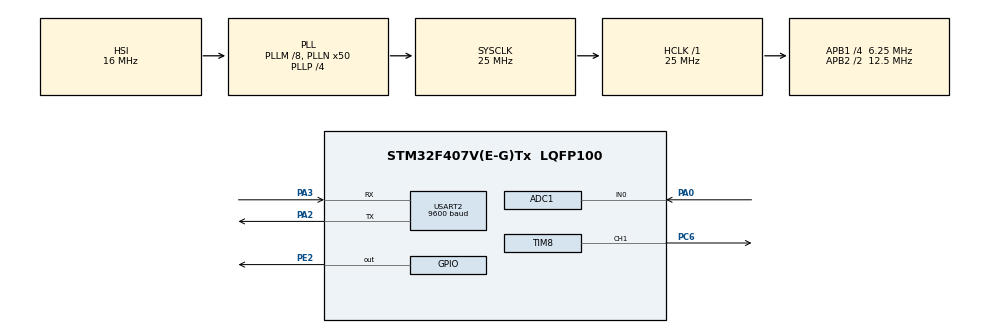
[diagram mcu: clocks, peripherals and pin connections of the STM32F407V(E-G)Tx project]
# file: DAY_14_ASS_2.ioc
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ADC1.Channel-0\#ChannelRegularConversion=ADC_CHANNEL_0
ADC1.ClockPrescaler=ADC_CLOCK_SYNC_PCLK_DIV6
ADC1.NbrOfConversionFlag=1
ADC1.Rank-0\#ChannelRegularConversion=1
ADC1.SamplingTime-0\#ChannelRegularConversion=ADC_SAMPLETIME_3CYCLES
ADC1.master=1
Mcu.Family=STM32F4
Mcu.Name=STM32F407V(E-G)Tx
Mcu.Package=LQFP100
NVIC.PriorityGroup=NVIC_PRIORITYGROUP_0
PA0-WKUP.Signal=ADCx_IN0
PA2.Mode=Asynchronous
PA2.Signal=USART2_TX
PA3.Mode=Asynchronous
PA3.Signal=USART2_RX
PC6.Signal=S_TIM8_CH1
PE2.Signal=GPIO_Output
ProjectManager.HeapSize=0x200
ProjectManager.StackSize=0x400
ProjectManager.TargetToolchain=STM32CubeIDE
RCC.48MHZClocksFreq_Value=14285714.285714285
RCC.AHBFreq_Value=25000000
RCC.APB1CLKDivider=RCC_HCLK_DIV4
RCC.APB1Freq_Value=6250000
RCC.APB1TimFreq_Value=12500000
RCC.APB2CLKDivider=RCC_HCLK_DIV2
RCC.APB2Freq_Value=12500000
RCC.APB2TimFreq_Value=25000000
RCC.CortexFreq_Value=25000000
RCC.HCLKFreq_Value=25000000
RCC.HSE_VALUE=8000000
RCC.HSI_VALUE=16000000
RCC.LSE_VALUE=32768
RCC.PLLM=8
RCC.PLLN=50
RCC.PLLP=RCC_PLLP_DIV4
RCC.PLLQ=7
RCC.SYSCLKFreq_VALUE=25000000
RCC.SYSCLKSource=RCC_SYSCLKSOURCE_PLLCLK
RCC.VCOOutputFreq_Value=100000000
SH.ADCx_IN0.0=ADC1_IN0,IN0
SH.S_TIM8_CH1.0=TIM8_CH1,PWM Generation1 CH1
TIM8.Channel-PWM\ Generation1\ CH1=TIM_CHANNEL_1
TIM8.Period=99
TIM8.Prescaler=24
USART2.BaudRate=9600
USART2.VirtualMode=VM_ASYNC
VP_TIM8_VS_ClockSourceINT.Mode=Internal
board=STM32F407G-DISC1

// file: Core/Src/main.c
/* USER CODE BEGIN Header */
/**
  ******************************************************************************
  * @file           : main.c
  * @brief          : Main program body
  ******************************************************************************
  * @attention
  *
  * Copyright (c) 2026 STMicroelectronics.
  * All rights reserved.
  *
  * This software is licensed under terms that can be found in the LICENSE file
  * in the root directory of this software component.
  * If no LICENSE file comes with this software, it is provided AS-IS.
  *
  ******************************************************************************
  */
/* USER CODE END Header */
#include "main.h"

/* USER CODE BEGIN Includes */
#include<stdio.h>
#include<string.h>
/* USER CODE END Includes */

ADC_HandleTypeDef hadc1;

TIM_HandleTypeDef htim8;

UART_HandleTypeDef huart2;

void SystemClock_Config(void);
static void MX_GPIO_Init(void);
static void MX_ADC1_Init(void);
static void MX_TIM8_Init(void);
static void MX_USART2_UART_Init(void);

int main(void)
{

  /* MCU Configuration--------------------------------------------------------*/

  /* Reset of all peripherals, Initializes the Flash interface and the Systick. */
  HAL_Init();

  /* Configure the system clock */
  SystemClock_Config();

  /* Initialize all configured peripherals */
  MX_GPIO_Init();
  MX_ADC1_Init();
  MX_TIM8_Init();
  MX_USART2_UART_Init();
  /* USER CODE BEGIN 2 */
  HAL_TIM_PWM_Start(&htim8, TIM_CHANNEL_1);
  /* USER CODE END 2 */

  /* Infinite loop */
  /* USER CODE BEGIN WHILE */
  while (1)
  {
	  char str[32];
	  uint32_t result;
	  HAL_ADC_Start(&hadc1);
	  HAL_ADC_PollForConversion(&hadc1, HAL_MAX_DELAY);
	  result = HAL_ADC_GetValue(&hadc1);
	  sprintf(str, "ADC = %lu\r\n", result);
	  HAL_UART_Transmit(&huart2, (uint8_t*)str, strlen(str), HAL_MAX_DELAY);
	  HAL_ADC_Stop(&hadc1);
	  HAL_Delay(100);

	  if(result > 3000)
	  {
		  htim8.Instance->CCR1 = 90;
	  	  HAL_GPIO_TogglePin(GPIOE, GPIO_PIN_2);
	  	  HAL_Delay(100);
	  }
	  else if(result > 1500)
	  {
		  htim8.Instance->CCR1 = 60;
	  	  HAL_GPIO_TogglePin(GPIOE, GPIO_PIN_2);
	  	  HAL_Delay(500);
	  }
	  else
	  {
		  htim8.Instance->CCR1 = 30;
		  HAL_GPIO_TogglePin(GPIOE, GPIO_PIN_2);
	  	  HAL_Delay(1000);
	  }
    /* USER CODE END WHILE */

  }
}

void SystemClock_Config(void)
{
  RCC_OscInitTypeDef RCC_OscInitStruct = {0};
  RCC_ClkInitTypeDef RCC_ClkInitStruct = {0};

  /** Configure the main internal regulator output voltage
  */
  __HAL_RCC_PWR_CLK_ENABLE();
  __HAL_PWR_VOLTAGESCALING_CONFIG(PWR_REGULATOR_VOLTAGE_SCALE1);

  /** Initializes the RCC Oscillators according to the specified parameters
  * in the RCC_OscInitTypeDef structure.
  */
  RCC_OscInitStruct.OscillatorType = RCC_OSCILLATORTYPE_HSI;
  RCC_OscInitStruct.HSIState = RCC_HSI_ON;
  RCC_OscInitStruct.HSICalibrationValue = RCC_HSICALIBRATION_DEFAULT;
  RCC_OscInitStruct.PLL.PLLState = RCC_PLL_ON;
  RCC_OscInitStruct.PLL.PLLSource = RCC_PLLSOURCE_HSI;
  RCC_OscInitStruct.PLL.PLLM = 8;
  RCC_OscInitStruct.PLL.PLLN = 50;
  RCC_OscInitStruct.PLL.PLLP = RCC_PLLP_DIV4;
  RCC_OscInitStruct.PLL.PLLQ = 7;
  if (HAL_RCC_OscConfig(&RCC_OscInitStruct) != HAL_OK)
  {
    Error_Handler();
  }

  /** Initializes the CPU, AHB and APB buses clocks
  */
  RCC_ClkInitStruct.ClockType = RCC_CLOCKTYPE_HCLK|RCC_CLOCKTYPE_SYSCLK
                              |RCC_CLOCKTYPE_PCLK1|RCC_CLOCKTYPE_PCLK2;
  RCC_ClkInitStruct.SYSCLKSource = RCC_SYSCLKSOURCE_PLLCLK;
  RCC_ClkInitStruct.AHBCLKDivider = RCC_SYSCLK_DIV1;
  RCC_ClkInitStruct.APB1CLKDivider = RCC_HCLK_DIV4;
  RCC_ClkInitStruct.APB2CLKDivider = RCC_HCLK_DIV2;

  if (HAL_RCC_ClockConfig(&RCC_ClkInitStruct, FLASH_LATENCY_0) != HAL_OK)
  {
    Error_Handler();
  }
}

static void MX_ADC1_Init(void)
{

  ADC_ChannelConfTypeDef sConfig = {0};

  /** Configure the global features of the ADC (Clock, Resolution, Data Alignment and number of conversion)
  */
  hadc1.Instance = ADC1;
  hadc1.Init.ClockPrescaler = ADC_CLOCK_SYNC_PCLK_DIV6;
  hadc1.Init.Resolution = ADC_RESOLUTION_12B;
  hadc1.Init.ScanConvMode = DISABLE;
  hadc1.Init.ContinuousConvMode = DISABLE;
  hadc1.Init.DiscontinuousConvMode = DISABLE;
  hadc1.Init.ExternalTrigConvEdge = ADC_EXTERNALTRIGCONVEDGE_NONE;
  hadc1.Init.ExternalTrigConv = ADC_SOFTWARE_START;
  hadc1.Init.DataAlign = ADC_DATAALIGN_RIGHT;
  hadc1.Init.NbrOfConversion = 1;
  hadc1.Init.DMAContinuousRequests = DISABLE;
  hadc1.Init.EOCSelection = ADC_EOC_SINGLE_CONV;
  if (HAL_ADC_Init(&hadc1) != HAL_OK)
  {
    Error_Handler();
  }

  /** Configure for the selected ADC regular channel its corresponding rank in the sequencer and its sample time.
  */
  sConfig.Channel = ADC_CHANNEL_0;
  sConfig.Rank = 1;
  sConfig.SamplingTime = ADC_SAMPLETIME_3CYCLES;
  if (HAL_ADC_ConfigChannel(&hadc1, &sConfig) != HAL_OK)
  {
    Error_Handler();
  }

}

static void MX_TIM8_Init(void)
{

  TIM_ClockConfigTypeDef sClockSourceConfig = {0};
  TIM_MasterConfigTypeDef sMasterConfig = {0};
  TIM_OC_InitTypeDef sConfigOC = {0};
  TIM_BreakDeadTimeConfigTypeDef sBreakDeadTimeConfig = {0};

  htim8.Instance = TIM8;
  htim8.Init.Prescaler = 24;
  htim8.Init.CounterMode = TIM_COUNTERMODE_UP;
  htim8.Init.Period = 99;
  htim8.Init.ClockDivision = TIM_CLOCKDIVISION_DIV1;
  htim8.Init.RepetitionCounter = 0;
  htim8.Init.AutoReloadPreload = TIM_AUTORELOAD_PRELOAD_DISABLE;
  if (HAL_TIM_Base_Init(&htim8) != HAL_OK)
  {
    Error_Handler();
  }
  sClockSourceConfig.ClockSource = TIM_CLOCKSOURCE_INTERNAL;
  if (HAL_TIM_ConfigClockSource(&htim8, &sClockSourceConfig) != HAL_OK)
  {
    Error_Handler();
  }
  if (HAL_TIM_PWM_Init(&htim8) != HAL_OK)
  {
    Error_Handler();
  }
  sMasterConfig.MasterOutputTrigger = TIM_TRGO_RESET;
  sMasterConfig.MasterSlaveMode = TIM_MASTERSLAVEMODE_DISABLE;
  if (HAL_TIMEx_MasterConfigSynchronization(&htim8, &sMasterConfig) != HAL_OK)
  {
    Error_Handler();
  }
  sConfigOC.OCMode = TIM_OCMODE_PWM1;
  sConfigOC.Pulse = 0;
  sConfigOC.OCPolarity = TIM_OCPOLARITY_HIGH;
  sConfigOC.OCNPolarity = TIM_OCNPOLARITY_HIGH;
  sConfigOC.OCFastMode = TIM_OCFAST_DISABLE;
  sConfigOC.OCIdleState = TIM_OCIDLESTATE_RESET;
  sConfigOC.OCNIdleState = TIM_OCNIDLESTATE_RESET;
  if (HAL_TIM_PWM_ConfigChannel(&htim8, &sConfigOC, TIM_CHANNEL_1) != HAL_OK)
  {
    Error_Handler();
  }
  sBreakDeadTimeConfig.OffStateRunMode = TIM_OSSR_DISABLE;
  sBreakDeadTimeConfig.OffStateIDLEMode = TIM_OSSI_DISABLE;
  sBreakDeadTimeConfig.LockLevel = TIM_LOCKLEVEL_OFF;
  sBreakDeadTimeConfig.DeadTime = 0;
  sBreakDeadTimeConfig.BreakState = TIM_BREAK_DISABLE;
  sBreakDeadTimeConfig.BreakPolarity = TIM_BREAKPOLARITY_HIGH;
  sBreakDeadTimeConfig.AutomaticOutput = TIM_AUTOMATICOUTPUT_DISABLE;
  if (HAL_TIMEx_ConfigBreakDeadTime(&htim8, &sBreakDeadTimeConfig) != HAL_OK)
  {
    Error_Handler();
  }
  HAL_TIM_MspPostInit(&htim8);

}

static void MX_USART2_UART_Init(void)
{

  huart2.Instance = USART2;
  huart2.Init.BaudRate = 9600;
  huart2.Init.WordLength = UART_WORDLENGTH_8B;
  huart2.Init.StopBits = UART_STOPBITS_1;
  huart2.Init.Parity = UART_PARITY_NONE;
  huart2.Init.Mode = UART_MODE_TX_RX;
  huart2.Init.HwFlowCtl = UART_HWCONTROL_NONE;
  huart2.Init.OverSampling = UART_OVERSAMPLING_16;
  if (HAL_UART_Init(&huart2) != HAL_OK)
  {
    Error_Handler();
  }

}

static void MX_GPIO_Init(void)
{
  GPIO_InitTypeDef GPIO_InitStruct = {0};

  /* GPIO Ports Clock Enable */
  __HAL_RCC_GPIOE_CLK_ENABLE();
  __HAL_RCC_GPIOA_CLK_ENABLE();
  __HAL_RCC_GPIOC_CLK_ENABLE();

  /*Configure GPIO pin Output Level */
  HAL_GPIO_WritePin(GPIOE, GPIO_PIN_2, GPIO_PIN_RESET);

  /*Configure GPIO pin : PE2 */
  GPIO_InitStruct.Pin = GPIO_PIN_2;
  GPIO_InitStruct.Mode = GPIO_MODE_OUTPUT_PP;
  GPIO_InitStruct.Pull = GPIO_NOPULL;
  GPIO_InitStruct.Speed = GPIO_SPEED_FREQ_LOW;
  HAL_GPIO_Init(GPIOE, &GPIO_InitStruct);

}

void Error_Handler(void)
{
  __disable_irq();
  while (1)
  {
  }
}
